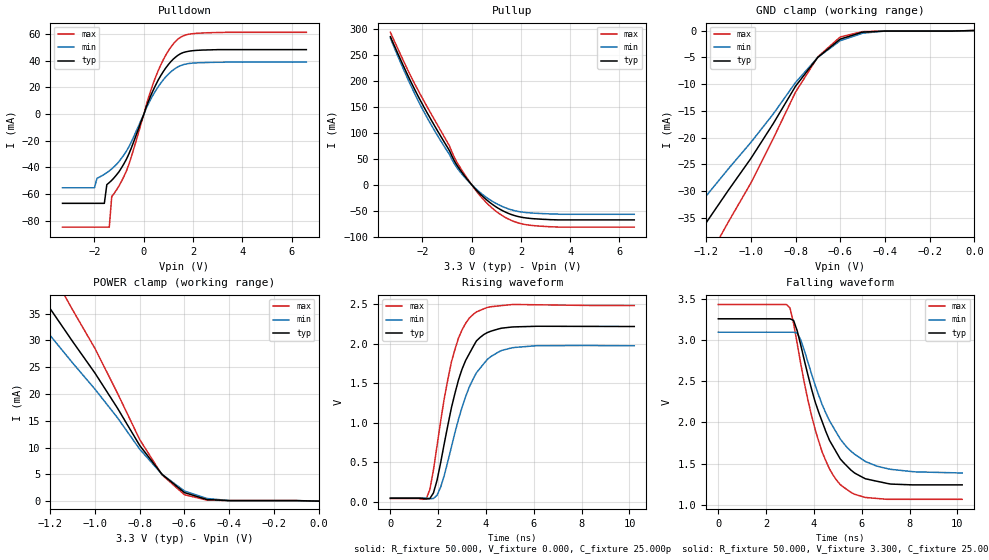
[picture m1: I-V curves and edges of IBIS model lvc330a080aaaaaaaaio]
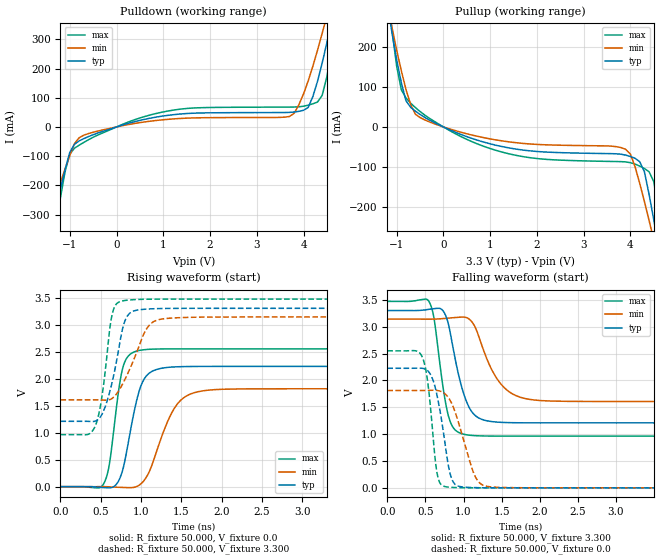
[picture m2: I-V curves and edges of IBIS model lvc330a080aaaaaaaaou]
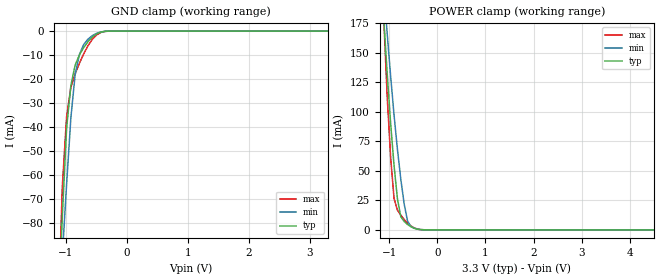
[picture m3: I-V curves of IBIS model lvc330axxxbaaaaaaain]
| IBIS Models Generator: Lattice Radiant Software (64-bit) 2023.1.0.43.3
| Report Generate Date: Apr 15 2025
| Report Generate Time: 16:20:57
|IBIS file ice40up.ibs
|Lattice Semiconductor Corporation
[IBIS ver]   4.2
[File Name]   camera_output_impl_1.ibs
[File Rev]   2.0
[Date]   1/26/2018
[Source]   Simulation
[Notes]   Final IBIS models
   The data below was generated using simulation of the
   input/output model files for the silicon.  Therefore,
   the data below is for reference and initial design
   purposes only.
|   The model applies to iCE40 ULTRA PLUS.
   Lattice Semiconductor grants permission to use this
   data for use in printed circuit design using this
   Lattice programmable logic device.  Other use of this
   code, including the selling or duplication of any
   portion is strictly prohibited.
|   NAMING CONVENTION
   The IBIS [Model] header is limited by the specification to a
   total of characters.  With such a set of characters available
   for naming models it becomes important to attempt to
   meaningfully encode the IO standards so they fit within the
   twenty character limit.  It would seem that twenty characters
   would provide room enough for describing IO's.  However, the
   PLD IO structure continues to grow more and more complex.  The
   complexity is making the twenty characters insuffiently
   descriptive.  In order to overcome this issue the naming
   convention described below is implemented to resolve the issue.
The twenty character space is managed as follows:
   bbbvvvsdddprtaaaoixx
   b = standard
   v = voltage (x.xx V)
   s = slew code
   d = drive (xx.x ma)
   p = pullmode code
   r = impedance
   t = mipi hard dphy mode
   o = diff resistor code
   i = diff  current code
   x = reserved
   standard
   LVCMOS   lvc
   lvdse   lve
   slew
   na   a
   fast   f
   slow   s
   pullmode
   off   a
   100k   b
   3p3k   i
   6p8k   j
   10k   k
   impedance
   off   a
   mipi hard dphy mode
   off   a
   lp   l
   hs   h
   differential resistor
   off   a
   100   b
   differential current
   NA   a
   3.5   c
   Reserved   IO type
   in   input only (mipi: rx)
   ou   output (mipi: tx)
   io   I/O
   od   Open drain
   on   Inverting differential I/O
   (signal name only)
   op   Non-Inverting differential I/O
   (signal name only)
   Lattice Semiconductor Corporation
   5555 NE Moore Court
   Hillsboro, OR 97214
   U.S.A
   TEL: 1-800-Lattice (USA and Canada)
   408-826-6000 (other locations)
   web: http://www.latticesemi.com/
   email: techsupport@latticesemi.com
[Disclaimer] This IBIS source code is intended as a design reference
   which illustrates how the Lattice Semiconductor device operates.
   It is the user's responsibility to verify their design for
   consistency and functionality through the use of formal
   verification methods.  Lattice Semiconductor provides no warranty
   regarding the use or functionality of this data.
[Copyright]   Copyright 2018 by Lattice Semiconductor Corporation
|   Component ice40_ultra_plus
[Component]   ice40_ultra_plus
[Manufacturer]   UMC
[Package]
| SG48
| variable   Typ   Min   Max
R_pkg   294.15m   225.91m   395.17m
L_pkg   2.652nH   1.989nH   3.504nH
C_pkg   0.2807pF   0.2236pF   0.3481pF
[Pin]  signal_name   model_name   R_pin   L_pin   C_pin
20   clk_12MHz   lvc330axxxbaaaaaaain
2   start   lvc330axxxbaaaaaaain
19   CAMERA_VSYNC_IN   lvc330axxxbaaaaaaain
18   CAMERA_HREF_IN   lvc330axxxbaaaaaaain
47   CAMERA_DATA_IN[0]   lvc330axxxbaaaaaaain
45   CAMERA_DATA_IN[1]   lvc330axxxbaaaaaaain
48   CAMERA_DATA_IN[2]   lvc330axxxbaaaaaaain
3   CAMERA_DATA_IN[3]   lvc330axxxbaaaaaaain
44   CAMERA_DATA_IN[4]   lvc330axxxbaaaaaaain
4   CAMERA_DATA_IN[5]   lvc330axxxbaaaaaaain
6   CAMERA_DATA_IN[6]   lvc330axxxbaaaaaaain
9   CAMERA_DATA_IN[7]   lvc330axxxbaaaaaaain
11   CAMERA_PCLOCK   lvc330axxxbaaaaaaain
12   sioc   lvc330a080aaaaaaaaio
21   siod   lvc330a080aaaaaaaaio
14   done   lvc330a080aaaaaaaaou
46   frame_done   lvc330a080aaaaaaaaou
13   pixel_valid   lvc330a080aaaaaaaaou
28   debug_state[0]   lvc330a080aaaaaaaaou
38   debug_state[1]   lvc330a080aaaaaaaaou
26   RGB[0]   lvc330a080aaaaaaaaou
27   RGB[1]   lvc330a080aaaaaaaaou
32   RGB[2]   lvc330a080aaaaaaaaou
35   RGB[3]   lvc330a080aaaaaaaaou
31   RGB[4]   lvc330a080aaaaaaaaou
37   RGB[5]   lvc330a080aaaaaaaaou
25   VGA_HSYNC   lvc330a080aaaaaaaaou
23   VGA_VSYNC   lvc330a080aaaaaaaaou
43   clk_25MHz   lvc330a080aaaaaaaaou
10   TEST   lvc330a080aaaaaaaaou
| Models and submodels in the file (3): lvc330a080aaaaaaaaio (I/O), lvc330a080aaaaaaaaou (Output), lvc330axxxbaaaaaaain (Input)
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[Model]   lvc330a080aaaaaaaaio
Model_type   I/O
Polarity   Non-Inverting
Enable   Active-High
Vinl =   0.80V
Vinh =   2.00V
Vmeas =   1.65V
Cref =  15.00pF
Rref =   1.00M
Vref =  0.000V
C_comp   3.30pF  3.17pF  3.43pF
[Temperature Range]  25.00   85   -40.00
[Voltage Range]   3.30V   3.14V   3.47V
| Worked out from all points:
|   slope of the pulldown table from 0 to 0.495 V, typ, clamps not added: 21.9 ohm
|   slope of the pullup table from 0 to 0.495 V, typ, clamps not added: 20.1 ohm
|   GND clamp passes 1 mA (typ) near -0.55 V on its own axis
|   POWER clamp passes 1 mA (typ) near -0.55 V on its own axis
|   rising waveform, R_fixture 50.000, V_fixture 0.000, C_fixture 25.000p: 20-80 % time 1.05ns typ, 1.18ns min, 906ps max; typ from 0.047 V to 2.22 V
|   falling waveform, R_fixture 50.000, V_fixture 3.300, C_fixture 25.000p: 20-80 % time 1.41ns typ, 1.57ns min, 1.19ns max; typ from 3.26 V to 1.24 V
[Pulldown]
| voltage I(typ) I(min) I(max)
-3.3V     -67.1mA    -55.4mA    -85mA
-2V       -67.1mA    -55.4mA    -85mA
-1.9V     -67.1mA    -48.3mA    -85mA
-1.6V     -67.1mA    -45.3mA    -85mA
-1.5V     -53.1mA    -44mA      -85mA
-1.4V     -51.5mA    -42.7mA    -85mA
-1.3V     -49.8mA    -41.2mA    -62mA
-600mV    -29.8mA    -24.5mA    -37.6mA
600mV     26mA       20.9mA     33.2mA
1.4V      44.3mA     35.6mA     56.5mA
2.6V      48.2mA     38.7mA     61.1mA
6.6V      48.4mA     39mA       61.4mA
[Pullup]
| voltage I(typ) I(min) I(max)
-3.3V     285.2mA    282.5mA    293.6mA
-2.7V     221.6mA    215.1mA    231.6mA
-2.1V     163.9mA    155.1mA    175.3mA
-1.5V     113mA      103.7mA    124.4mA
-900mV    65.5mA     58.1mA     74.5mA
-700mV    45.6mA     40.1mA     52.3mA
-300mV    17.7mA     15.2mA     20.8mA
200mV     -10.7mA    -9.1mA     -12.9mA
1V        -43mA      -36.3mA    -51.5mA
1.7V      -58.8mA    -49.5mA    -70.5mA
2.4V      -65mA      -54.3mA    -78.2mA
6.6V      -67.7mA    -56.9mA    -81.7mA
[GND_clamp]
| voltage I(typ) I(min) I(max)
-3.3V     -197.8mA   -171.9mA   -231.7mA
-1.4V     -49.1mA    -42.2mA    -59.1mA
-1.3V     -42.4mA    -36.4mA    -51mA
-1.2V     -35.9mA    -30.9mA    -43.2mA
-1.1V     -29.8mA    -25.8mA    -35.7mA
-1V       -23.9mA    -20.9mA    -28.5mA
-800mV    -10.4mA    -9.7mA     -11.5mA
-700mV    -5mA       -5mA       -4.9mA
-600mV    -1.6mA     -1.9mA     -1.2mA
-500mV    -300uA     -500uA     -200uA
-400mV    -100uA     -100uA     -100uA
0V        0A         0A         0A
[POWER_clamp]
| voltage I(typ) I(min) I(max)
-3.3V     197.8mA    171.9mA    231.7mA
-1.4V     49.1mA     42.2mA     59.1mA
-1.3V     42.4mA     36.4mA     51mA
-1.2V     35.9mA     30.9mA     43.2mA
-1.1V     29.8mA     25.8mA     35.7mA
-1V       23.9mA     20.9mA     28.5mA
-800mV    10.4mA     9.7mA      11.5mA
-700mV    5mA        5mA        4.9mA
-600mV    1.6mA      1.9mA      1.2mA
-500mV    300uA      500uA      200uA
-400mV    100uA      100uA      100uA
0V        0A         0A         0A
[Ramp]
| variable   typ   min   max
dV/dt_r 1.344/1.049n  1.199/1.1826n  1.504/0.899n
dV/dt_f 1.251/1.4n  1.061/1.46n  1.46/1.19n
R_load = 50
[Rising Waveform]
R_fixture = 50.000
V_fixture = 0.000
V_fixture_min = 0.000
V_fixture_max = 0.000
C_fixture = 25.000p
L_fixture = 0.000
|  time   V(typ)   V(min)   V(max)
0s        47.35mV    51.07mV    42.37mV
1.5ns     37.38mV    47.51mV    40.33mV
1.65ns    42.61mV    41.35mV    155.9mV
1.95ns    271.1mV    84.27mV    707mV
2.55ns    1.186V     691.2mV    1.765V
3ns       1.68V      1.198V     2.175V
3.6ns     2.034V     1.632V     2.401V
4.2ns     2.156V     1.835V     2.466V
5.1ns     2.21V      1.948V     2.494V
10.2ns    2.216V     1.972V     2.481V
[Falling Waveform]
R_fixture = 50.000
V_fixture = 3.300
V_fixture_min = 3.140
V_fixture_max = 3.470
C_fixture = 25.000p
L_fixture = 0.000
|  time   V(typ)   V(min)   V(max)
0s        3.256V     3.094V     3.43V
3ns       3.256V     3.094V     3.387V
3.15ns    3.236V     3.094V     3.198V
3.45ns    2.936V     2.999V     2.708V
4.05ns    2.25V      2.451V     1.915V
4.5ns     1.888V     2.112V     1.532V
5.1ns     1.557V     1.799V     1.246V
5.7ns     1.386V     1.614V     1.128V
6.6ns     1.288V     1.473V     1.078V
10.2ns    1.242V     1.386V     1.067V
[Model] lvc330a080aaaaaaaaou
Model_type Output
Polarity   Non-Inverting
Vmeas =  1.650V
Cref =  0.0F
Rref =  1.000M
Vref =  0.0V
C_comp   5.000pF   4.000pF   5.500pF
[Temperature Range]   25.000   0.125k   -40.000
[Voltage Range]   3.300V   3.140V   3.470V
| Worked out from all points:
|   slope of the pulldown table from 0 to 0.495 V, typ, clamps not added: 22.2 ohm
|   slope of the pullup table from 0 to 0.495 V, typ, clamps not added: 20.5 ohm
|   rising waveform, R_fixture 50.000, V_fixture 0.0: 20-80 % time 185ps typ, 288ps min, 134ps max; typ from 0 V to 2.23 V
|   rising waveform, R_fixture 50.000, V_fixture 3.300: 20-80 % time 178ps typ, 261ps min, 124ps max; typ from 1.21 V to 3.3 V
|   falling waveform, R_fixture 50.000, V_fixture 3.300: 20-80 % time 207ps typ, 307ps min, 149ps max; typ from 3.3 V to 1.21 V
|   falling waveform, R_fixture 50.000, V_fixture 0.0: 20-80 % time 154ps typ, 231ps min, 107ps max; typ from 2.23 V to 0 V
[Pulldown]
|Voltage   I(typ)   I(min)   I(max)
-3.3V     -1.776A    -1.307A    -2.431A
-1.5V     -423.6mA   -342.8mA   -538.4mA
-1.4V     -351.5mA   -291.1mA   -437.4mA
-1.3V     -280.6mA   -240.3mA   -338.1mA
-1V       -86.97mA   -97.65mA   -93.09mA
-600mV    -33.08mA   -22.8mA    -43.84mA
1.2V      41.65mA    27.29mA    57.19mA
3.7V      49.78mA    35.79mA    67.98mA
4.1V      66.56mA    157.4mA    74.46mA
4.5V      288.6mA    381.2mA    171.9mA
4.7V      439.3mA    507.4mA    377.8mA
6.6V      2.168A     1.924A     3.534A
[Pullup]
|Voltage   I(typ)   I(min)   I(max)
-3.3V     2.151A     1.834A     3.789A
-1.1V     235.9mA    249.4mA    241.7mA
-900mV    110.8mA    140.5mA    92.9mA
-700mV    49.1mA     55.83mA    59.51mA
-500mV    31.42mA    23.54mA    38.71mA
1.3V      -50.32mA   -35.76mA   -64.44mA
3.8V      -68.46mA   -51.76mA   -86.99mA
4V        -74.06mA   -67.96mA   -89.6mA
4.2V      -87.28mA   -141.6mA   -98.17mA
4.5V      -232.6mA   -283.4mA   -137mA
4.7V      -369.1mA   -384.5mA   -298.2mA
6.6V      -1.78A     -1.393A    -2.261A
[Ramp]
| variable   typ   min   max
dV/dt_r   1.335/0.193n   1.087/0.297n   1.530/0.140n
dV/dt_f   1.255/0.212n   0.920/0.311n   1.505/0.156n
R_load = 50.000
[Rising Waveform]
R_fixture= 50.000
V_fixture= 0.0
V_fixture_min= 0.0
V_fixture_max= 0.0
|time   V(typ)   V(min)   V(max)
0s        0V         0V         0V
536ps     -16.16mV   759.6uV    52.64mV
606ps     -21.46mV   -2.929mV   401.5mV
725ps     115.9mV    -11.53mV   1.805V
775ps     321mV      -14.23mV   2.204V
999ps     1.864V     52.71mV    2.526V
1.129ns   2.127V     373.8mV    2.543V
1.414ns   2.215V     1.45V      2.55V
1.764ns   2.225V     1.772V     2.55V
10ns      2.225V     1.812V     2.55V
[Rising Waveform]
R_fixture= 50.000
V_fixture= 3.300
V_fixture_min= 3.140
V_fixture_max= 3.470
|time   V(typ)   V(min)   V(max)
0s        1.209V     1.607V     962.5mV
332ps     1.209V     1.607V     963mV
426ps     1.21V      1.607V     1.102V
516ps     1.34V      1.604V     1.673V
641ps     1.928V     1.633V     3.18V
789ps     3.016V     1.951V     3.442V
874ps     3.224V     2.222V     3.456V
1.074ns   3.286V     2.93V      3.468V
1.334ns   3.298V     3.115V     3.47V
10ns      3.3V       3.14V      3.47V
[Falling Waveform]
R_fixture= 50.000
V_fixture= 3.300
V_fixture_min= 3.140
V_fixture_max= 3.470
|time   V(typ)   V(min)   V(max)
0s        3.3V       3.14V      3.47V
548ps     3.323V     3.139V     3.464V
612ps     3.334V     3.141V     3.159V
730ps     3.297V     3.15V      1.883V
801ps     3.05V      3.159V     1.342V
1.038ns   1.61V      3.168V     988mV
1.184ns   1.314V     2.882V     969.4mV
1.489ns   1.22V      1.935V     963mV
1.938ns   1.21V      1.634V     962.5mV
10ns      1.209V     1.607V     962.5mV
[Falling Waveform]
R_fixture= 50.000
V_fixture= 0.0
V_fixture_min= 0.0
V_fixture_max= 0.0
|time   V(typ)   V(min)   V(max)
0s        2.225V     1.812V     2.55V
464ps     2.224V     1.812V     2.415V
532ps     2.176V     1.814V     1.949V
651ps     1.728V     1.813V     287.9mV
772ps     678.2mV    1.729V     19.5mV
833ps     216.8mV    1.605V     10.3mV
894ps     59.61mV    1.393V     5.856mV
1.146ns   4.774mV    233.2mV    594.5uV
1.315ns   1.376mV    26.01mV    127.7uV
10ns      0V         0V         0V
[Model] lvc330axxxbaaaaaaain
Model_type Input
Polarity   Non-Inverting
Vinl =  0.800V
Vinh =  2.000V
C_comp   3.30pF   3.17pF   3.43pF
[Temperature Range]   25.000   0.125k   -40.000
[Voltage Range]   3.300V   3.140V   3.470V
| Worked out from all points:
|   GND clamp passes 1 mA (typ) near -0.48 V on its own axis
|   POWER clamp passes 1 mA (typ) near -0.45 V on its own axis
[GND_clamp]
|Voltage   I(typ)   I(min)   I(max)
-3.3V     -1.71A     -1.258A    -2.349A
-1.13V    -119.4mA   -124.7mA   -120.3mA
-1.06V    -76.88mA   -93.37mA   -64.39mA
-990mV    -40.35mA   -63.65mA   -35.62mA
-920mV    -22.6mA    -36.07mA   -23.38mA
-850mV    -14.14mA   -18.14mA   -17.79mA
-780mV    -9.909mA   -9.739mA   -13.41mA
-710mV    -6.894mA   -5.603mA   -9.501mA
-640mV    -4.428mA   -3.381mA   -6.138mA
-500mV    -1.198mA   -946.9uA   -1.648mA
-290mV    -17.2uA    -20.27uA   -19.28uA
3.3V      0A         0A         0A
[POWER_clamp]
|Voltage   I(typ)   I(min)   I(max)
-3.3V     2.101A     1.758A     3.757A
-1.11V    175.9mA    202.3mA    175mA
-1.04V    130.6mA    164.8mA    110.8mA
-970mV    89.47mA    129.5mA    60.8mA
-900mV    54.32mA    97.15mA    26.56mA
-830mV    26.33mA    68.22mA    16.68mA
-760mV    11.13mA    42.96mA    12.46mA
-690mV    7.047mA    22mA       8.842mA
-620mV    4.569mA    7.445mA    5.774mA
-480mV    1.311mA    1.375mA    1.631mA
-200mV    15.9uA     19.21uA    18.62uA
6.6V      -81.43uA   -54.99uA   -111.7uA
